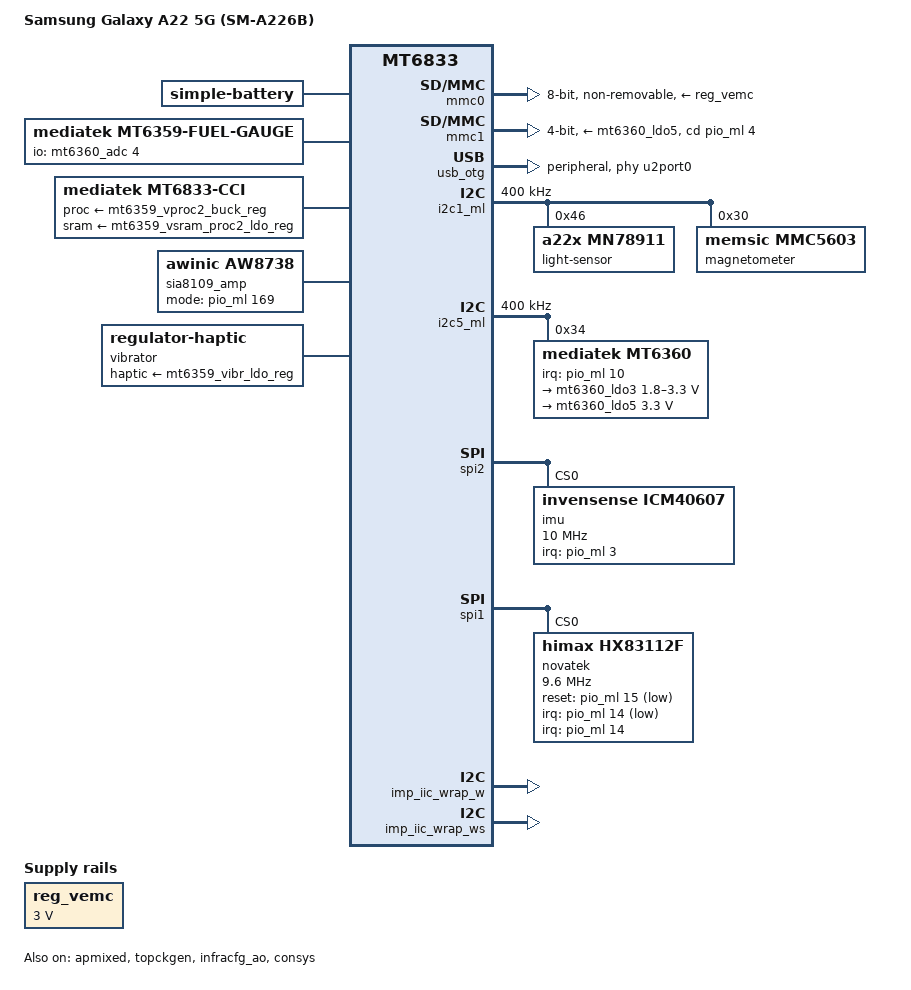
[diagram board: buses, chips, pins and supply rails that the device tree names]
// SPDX-License-Identifier: (GPL-2.0-only OR MIT)
/*
 * Samsung Galaxy A22 5G (SM-A226B, "a22x") - minimal mainline bring-up.
 *
 * The stock LK looks up a lot of nodes in the kernel DTB, applies dtbo.img on
 * top of it and panics when something is missing (bootargs, mediatek,scp, ...).
 * The base is therefore the stock DTB with everything mainline does not use
 * disabled (see mt6833-samsung-a22x-lk-compat.dtsi); real hardware support
 * is enabled here node by node.
 *
 * No reserved-memory nodes are added here: LK inserts its own mblock
 * reservations (framebuffer, pstore, ...) and hangs in
 * reserved_memory_conflict_check if the DTB already describes them
 * differently. ramoops is configured by LK through ramoops.* cmdline params.
 */

/dts-v1/;
#include <dt-bindings/clock/mt6833-clk.h>
#include <dt-bindings/power/mediatek,mt6833-power.h>
#include <dt-bindings/thermal/mediatek,lvts-thermal.h>
#include <dt-bindings/thermal/thermal.h>
#include <dt-bindings/leds/common.h>
#include <dt-bindings/phy/phy.h>
#include <dt-bindings/gpio/gpio.h>
#include <dt-bindings/input/input.h>
#include <dt-bindings/interrupt-controller/irq.h>
#include <dt-bindings/pinctrl/mt6833-pinfunc.h>
#include <dt-bindings/pinctrl/mt65xx.h>
#include "mt6833-samsung-a22x-lk-compat.dtsi"

/ {
	model = "Samsung Galaxy A22 5G (SM-A226B)";
	compatible = "samsung,a22x", "mediatek,mt6833";

	aliases {
		serial0 = &apuart0;
	};

	chosen {
		#address-cells = <2>;
		#size-cells = <2>;
		ranges;
		stdout-path = "serial0:921600n8";
		bootargs = "console=ttyS0,921600n8";

		framebuffer@7c9b0000 {
			compatible = "simple-framebuffer";
			reg = <0 0x7c9b0000 0 (1088 * 2408 * 4)>;
			width = <1080>;
			height = <2408>;
			stride = <(1088 * 4)>;
			format = "a8r8g8b8";
			backlight = <&backlight>;
			/*
			 * Physical size (stock panel driver: 68.43 x 152.57 mm), else
			 * simpledrm assumes 96 dpi and the OSK gets far too thin. Not a
			 * "panel" phandle: that variant hung at the boot logo (v73).
			 */
			width-mm = <68>;
			height-mm = <152>;
		};
	};

	pio_ml: pinctrl@10005000 {
		compatible = "mediatek,mt6833-pinctrl";
		reg = <0 0x10005000 0 0x1000>,
		      <0 0x11c30000 0 0x1000>,
		      <0 0x11d10000 0 0x1000>,
		      <0 0x11d40000 0 0x1000>,
		      <0 0x11e20000 0 0x1000>,
		      <0 0x11e60000 0 0x1000>,
		      <0 0x11ea0000 0 0x1000>,
		      <0 0x1000b000 0 0x1000>;
		reg-names = "gpio", "iocfg_rb", "iocfg_bm", "iocfg_br",
			    "iocfg_lm", "iocfg_bl", "iocfg_rt", "eint";
		gpio-controller;
		#gpio-cells = <2>;
		gpio-ranges = <&pio_ml 0 0 201>;
		interrupt-controller;
		#interrupt-cells = <2>;
		interrupts = <0 212 4>;

		/* Mux only; pulls and drive strength stay as the bootloader set them. */
		uart0_pins: uart0-pins {
			pins-rx-tx {
				pinmux = <PINMUX_GPIO61__FUNC_URXD0>,
					 <PINMUX_GPIO62__FUNC_UTXD0>;
			};
		};

		spi1_pins: spi1-pins {
			pins-bus {
				pinmux = <PINMUX_GPIO27__FUNC_SPI1_CLK>,
					 <PINMUX_GPIO28__FUNC_SPI1_CSB>,
					 <PINMUX_GPIO29__FUNC_SPI1_MO>,
					 <PINMUX_GPIO30__FUNC_SPI1_MI>;
			};
		};

		touch_pins: touch-pins {
			pins-irq {
				pinmux = <PINMUX_GPIO14__FUNC_GPIO14>;
				input-enable;
			};
			pins-reset {
				pinmux = <PINMUX_GPIO15__FUNC_GPIO15>;
				output-high;
			};
		};

		/* AFE <-> MT6359 (MTKAIF) and speaker I2S, vendor states */
		/* MTKAIF clock/sync: switched on once at AFE init, always running */
		aud_clk_mosi_off_ml: aud-clk-mosi-off {
			pins-off {
				pinmux = <PINMUX_GPIO152__FUNC_GPIO152>,
					 <PINMUX_GPIO153__FUNC_GPIO153>;
				input-enable;
				bias-pull-down;
			};
		};

		aud_clk_mosi_on_ml: aud-clk-mosi-on {
			pins-on {
				pinmux = <PINMUX_GPIO152__FUNC_AUD_CLK_MOSI>,
					 <PINMUX_GPIO153__FUNC_AUD_SYNC_MOSI>;
				input-schmitt-enable;
				bias-disable;
			};
		};

		aud_dat_mosi_off_ml: aud-dat-mosi-off {
			pins-off {
				pinmux = <PINMUX_GPIO154__FUNC_GPIO154>,
					 <PINMUX_GPIO155__FUNC_GPIO155>;
				input-enable;
				bias-pull-down;
			};
		};

		aud_dat_mosi_on_ml: aud-dat-mosi-on {
			pins-on {
				pinmux = <PINMUX_GPIO154__FUNC_AUD_DAT_MOSI0>,
					 <PINMUX_GPIO155__FUNC_AUD_DAT_MOSI1>;
				input-schmitt-enable;
				bias-disable;
			};
		};

		aud_dat_miso_off_ml: aud-dat-miso-off {
			pins-off {
				pinmux = <PINMUX_GPIO159__FUNC_GPIO159>,
					 <PINMUX_GPIO160__FUNC_GPIO160>;
				input-enable;
				bias-pull-down;
			};
		};

		aud_dat_miso_on_ml: aud-dat-miso-on {
			pins-on {
				pinmux = <PINMUX_GPIO159__FUNC_AUD_DAT_MISO0>,
					 <PINMUX_GPIO160__FUNC_AUD_DAT_MISO1>;
				input-schmitt-enable;
				bias-disable;
			};
		};

		aud_gpio_i2s3_off_ml: aud-gpio-i2s3-off {
			pins-off {
				pinmux = <PINMUX_GPIO40__FUNC_GPIO40>,
					 <PINMUX_GPIO41__FUNC_GPIO41>,
					 <PINMUX_GPIO43__FUNC_GPIO43>;
				input-enable;
				bias-pull-down;
			};
		};

		aud_gpio_i2s3_on_ml: aud-gpio-i2s3-on {
			pins-on {
				pinmux = <PINMUX_GPIO40__FUNC_I2S3_BCK>,
					 <PINMUX_GPIO41__FUNC_I2S3_LRCK>,
					 <PINMUX_GPIO43__FUNC_I2S3_DO>;
				input-schmitt-enable;
				bias-disable;
			};
		};

		aud_gpio_i2s0_off_ml: aud-gpio-i2s0-off {
			pins-off {
				pinmux = <PINMUX_GPIO42__FUNC_GPIO42>;
				input-enable;
				bias-pull-down;
			};
		};

		aud_gpio_i2s0_on_ml: aud-gpio-i2s0-on {
			pins-on {
				pinmux = <PINMUX_GPIO42__FUNC_I2S0_DI>;
				input-schmitt-enable;
				bias-disable;
			};
		};

		spk_amp_pins: spk-amp-pins {
			pins-owi {
				pinmux = <PINMUX_GPIO169__FUNC_GPIO169>;
				bias-disable;
			};
		};

		/* vendor routes these to the SCP (SCP_SCL0/SDA0); AP I2C1 on the same pins */
		i2c1_pins: i2c1-pins {
			pins-bus {
				pinmux = <PINMUX_GPIO99__FUNC_SCL1>,
					 <PINMUX_GPIO100__FUNC_SDA1>;
			};
		};

		i2c5_pins: i2c5-pins {
			pins-bus {
				pinmux = <PINMUX_GPIO107__FUNC_SCL5>,
					 <PINMUX_GPIO108__FUNC_SDA5>;
			};
		};

		keypad_pins: keypad-pins {
			pins-cols {
				pinmux = <PINMUX_GPIO79__FUNC_KPCOL0>,
					 <PINMUX_GPIO80__FUNC_KPCOL1>;
			};
		};

		/* SD card slot (MSDC1); vendor drive strength 8 mA */
		/* IMU on SPI2 (the vendor drives it from the SCP via SCP_SPI2) */
		imu_int_pins: imu-int-pins {
			pins-int {
				pinmux = <PINMUX_GPIO3__FUNC_GPIO3>;
				input-enable;
				bias-disable;
			};
		};

		spi2_pins: spi2-pins {
			pins-spi {
				pinmux = <PINMUX_GPIO31__FUNC_SPI2_CLK>,
					 <PINMUX_GPIO32__FUNC_SPI2_CSB>,
					 <PINMUX_GPIO33__FUNC_SPI2_MO>;
				bias-disable;
			};

			pins-miso {
				pinmux = <PINMUX_GPIO34__FUNC_SPI2_MI>;
				input-enable;
				bias-pull-up;
			};
		};

		mmc1_pins: mmc1-pins {
			pins-cmd-dat {
				pinmux = <PINMUX_GPIO126__FUNC_MSDC1_CMD>,
					 <PINMUX_GPIO128__FUNC_MSDC1_DAT0>,
					 <PINMUX_GPIO127__FUNC_MSDC1_DAT1>,
					 <PINMUX_GPIO129__FUNC_MSDC1_DAT2>,
					 <PINMUX_GPIO130__FUNC_MSDC1_DAT3>;
				input-enable;
				drive-strength = <8>;
				bias-pull-up = <MTK_PUPD_SET_R1R0_01>;
			};

			pins-clk {
				pinmux = <PINMUX_GPIO125__FUNC_MSDC1_CLK>;
				drive-strength = <8>;
				bias-pull-down = <MTK_PUPD_SET_R1R0_10>;
			};

			pins-cd {
				pinmux = <PINMUX_GPIO4__FUNC_GPIO4>;
				input-enable;
				bias-pull-up;
			};
		};

		mmc0_pins: mmc0-pins {
			pins-bus {
				pinmux = <PINMUX_GPIO65__FUNC_MSDC0_DSL>,
					 <PINMUX_GPIO66__FUNC_MSDC0_CLK>,
					 <PINMUX_GPIO67__FUNC_MSDC0_CMD>,
					 <PINMUX_GPIO68__FUNC_MSDC0_RSTB>,
					 <PINMUX_GPIO69__FUNC_MSDC0_DAT0>,
					 <PINMUX_GPIO70__FUNC_MSDC0_DAT1>,
					 <PINMUX_GPIO71__FUNC_MSDC0_DAT2>,
					 <PINMUX_GPIO72__FUNC_MSDC0_DAT3>,
					 <PINMUX_GPIO73__FUNC_MSDC0_DAT4>,
					 <PINMUX_GPIO74__FUNC_MSDC0_DAT5>,
					 <PINMUX_GPIO75__FUNC_MSDC0_DAT6>,
					 <PINMUX_GPIO76__FUNC_MSDC0_DAT7>;
			};
		};
	};

	/* VEMC, left enabled by the bootloader for the boot eMMC. */
	reg_vemc: regulator-vemc {
		compatible = "regulator-fixed";
		regulator-name = "vemc";
		regulator-min-microvolt = <3000000>;
		regulator-max-microvolt = <3000000>;
		regulator-always-on;
		regulator-boot-on;
	};

	mmc0: mmc@11230000 {
		compatible = "mediatek,mt8183-mmc";
		reg = <0 0x11230000 0 0x10000>,
		      <0 0x11f50000 0 0x1000>;
		interrupts = <0 99 4>;
		clocks = <&topckgen CLK_TOP_MSDC50_0_SEL>,
			 <&infracfg_ao CLK_IFRAO_MSDC0>,
			 <&infracfg_ao CLK_IFRAO_MSDC0_SRC>;
		clock-names = "source", "hclk", "source_cg";
		bus-width = <8>;
		max-frequency = <200000000>;
		cap-mmc-highspeed;
		mmc-hs200-1_8v;
		vmmc-supply = <&reg_vemc>;
		pinctrl-names = "default", "state_uhs";
		pinctrl-0 = <&mmc0_pins>;
		pinctrl-1 = <&mmc0_pins>;
		non-removable;
		no-sd;
		no-sdio;
	};

	/* microSD slot: VMC (I/O, MT6360 LDO3) and VMCH (card, MT6360 LDO5) */
	mmc1: mmc@11240000 {
		compatible = "mediatek,mt8183-mmc";
		reg = <0 0x11240000 0 0x1000>,
		      <0 0x11c70000 0 0x1000>;
		interrupts = <0 103 4>;
		clocks = <&topckgen CLK_TOP_MSDC30_1_SEL>,
			 <&infracfg_ao CLK_IFRAO_MSDC1>,
			 <&infracfg_ao CLK_IFRAO_MSDC1_SRC>;
		clock-names = "source", "hclk", "source_cg";
		pinctrl-names = "default", "state_uhs";
		pinctrl-0 = <&mmc1_pins>;
		pinctrl-1 = <&mmc1_pins>;
		bus-width = <4>;
		max-frequency = <200000000>;
		cap-sd-highspeed;
		sd-uhs-sdr12;
		sd-uhs-sdr25;
		sd-uhs-sdr50;
		sd-uhs-sdr104;
		cd-gpios = <&pio_ml 4 GPIO_ACTIVE_HIGH>;
		vmmc-supply = <&mt6360_ldo5>;
		vqmmc-supply = <&mt6360_ldo3>;
		no-sdio;
		no-mmc;
	};

	u2phy: t-phy@11e40000 {
		compatible = "mediatek,mt6833-tphy", "mediatek,generic-tphy-v2";
		#address-cells = <1>;
		#size-cells = <1>;
		ranges = <0 0 0x11e40000 0x1000>;

		u2port0: usb-phy@0 {
			reg = <0x0 0x700>;
			clocks = <&uart_clk>;
			clock-names = "ref";
			#phy-cells = <1>;
		};
	};

	usb_otg: usb@11200000 {
		compatible = "mediatek,mt6833-musb", "mediatek,mtk-musb";
		reg = <0 0x11200000 0 0x1000>;
		interrupts = <0 96 4>;
		interrupt-names = "mc";
		phys = <&u2port0 PHY_TYPE_USB2>;
		dr_mode = "peripheral";
		clocks = <&infracfg_ao CLK_IFRAO_SSUSB>,
			 <&topckgen CLK_TOP_USB_TOP_SEL>,
			 <&topckgen CLK_TOP_UNIVPLL_D5_D4>;
		clock-names = "main", "mcu", "univpll";
	};

	/*
	 * LK leaves the TOPRGU watchdog running; let the kernel service it.
	 * The stock "mediatek,toprgu" node at the same address stays disabled.
	 */
	watchdog@10007000 {
		compatible = "mediatek,mt6833-wdt", "mediatek,mt6589-wdt";
		reg = <0 0x10007000 0 0x100>;
		#reset-cells = <1>;
	};
};

&apuart0 {
	clocks = <&uart_clk>, <&infracfg_ao CLK_IFRAO_UART0>;
	clock-names = "baud", "bus";
	pinctrl-names = "default";
	pinctrl-0 = <&uart0_pins>;
};

/* The stock fixed clock lacks #clock-cells, so the UART driver cannot use it. */
&uart_clk {
	#clock-cells = <0>;
};

/*
 * Touch: Himax HX83112F TDDI on SPI1. LK's dtbo overlay enables &spi1 and
 * adds a "novatek@0" child (compatible list ending in "himax,common"); the
 * properties below are merged into that node.
 */
&spi2 {
	#address-cells = <1>;
	#size-cells = <0>;
	clocks = <&topckgen CLK_TOP_MAINPLL_D5_D4>,
		 <&topckgen CLK_TOP_SPI_SEL>,
		 <&infracfg_ao CLK_IFRAO_SPI2>;
	clock-names = "parent-clk", "sel-clk", "spi-clk";
	pinctrl-names = "default";
	pinctrl-0 = <&spi2_pins>;
	status = "okay";

	/* TDK ICM-40607 accelerometer/gyroscope (WHO_AM_I 0x38), INT1 on GPIO3 */
	imu@0 {
		compatible = "invensense,icm40607";
		reg = <0>;
		spi-max-frequency = <10000000>;
		spi-cpha;
		spi-cpol;
		interrupts-extended = <&pio_ml 3 IRQ_TYPE_EDGE_FALLING>;
		interrupt-names = "INT1";
		pinctrl-names = "default";
		pinctrl-0 = <&imu_int_pins>;
		/* chip X/Z point opposite the panel axes (checked with Plasma rotation) */
		mount-matrix = "-1", "0", "0",
			       "0", "1", "0",
			       "0", "0", "-1";
	};
};

&spi1 {
	#address-cells = <1>;
	#size-cells = <0>;
	clocks = <&topckgen CLK_TOP_MAINPLL_D5_D4>,
		 <&topckgen CLK_TOP_SPI_SEL>,
		 <&infracfg_ao CLK_IFRAO_SPI1>;
	clock-names = "parent-clk", "sel-clk", "spi-clk";
	pinctrl-names = "default";
	pinctrl-0 = <&spi1_pins>;
	status = "okay";

	novatek@0 {
		compatible = "himax,hx83112f", "himax,common";
		reg = <0>;
		spi-max-frequency = <9600000>;
		pinctrl-names = "default";
		pinctrl-0 = <&touch_pins>;
		interrupts-extended = <&pio_ml 14 IRQ_TYPE_EDGE_FALLING>;
		reset-gpios = <&pio_ml 15 GPIO_ACTIVE_LOW>;
		irq-gpios = <&pio_ml 14 GPIO_ACTIVE_LOW>;
		touchscreen-size-x = <1080>;
		touchscreen-size-y = <2408>;
	};
};

/* MT6833 clock controllers (providers only for now; consumers still use stand-ins). */
&apmixed {
	status = "okay";
};

&topckgen {
	status = "okay";
};

&infracfg_ao {
	status = "okay";
};

&imp_iic_wrap_w {
	status = "okay";
};

&imp_iic_wrap_ws {
	status = "okay";
};

/ {
	/*
	 * I2C5 with the MT6360 sub-PMIC (charger, ADC, LDOs, Type-C). A separate
	 * node from the stock "i2c5": LK's dtbo overlay rewrites the children of
	 * the stock one with downstream compatibles. The stock node stays off.
	 */
	/* sensor bus: light/proximity and magnetometer, owned by the SCP on stock */
	i2c1_ml: i2c@11d20000 {
		compatible = "mediatek,mt6833-i2c", "mediatek,mt8192-i2c";
		reg = <0 0x11d20000 0 0x1000>,
		      <0 0x10217100 0 0x80>;
		interrupts = <0 113 4>;
		clocks = <&imp_iic_wrap_ws CLK_IMPWS_AP_CLOCK_RO_I2C1>,
			 <&infracfg_ao CLK_IFRAO_AP_DMA>;
		clock-names = "main", "dma";
		clock-div = <1>;
		clock-frequency = <400000>;
		pinctrl-names = "default";
		pinctrl-0 = <&i2c1_pins>;
		#address-cells = <1>;
		#size-cells = <0>;

		light-sensor@46 {
			compatible = "a22x,mn78911";
			reg = <0x46>;
			/* palm over the sensor ~370, open ~60 */
			proximity-near-level = <200>;
		};

		magnetometer@30 {
			compatible = "memsic,mmc5603";
			reg = <0x30>;
		};
	};

	i2c5_ml: i2c@11e01000 {
		compatible = "mediatek,mt6833-i2c", "mediatek,mt8192-i2c";
		reg = <0 0x11e01000 0 0x1000>,
		      <0 0x10217500 0 0x80>;
		interrupts = <0 117 4>;
		clocks = <&imp_iic_wrap_w CLK_IMPW_AP_CLOCK_RO_I2C5>,
			 <&infracfg_ao CLK_IFRAO_AP_DMA>;
		clock-names = "main", "dma";
		clock-div = <1>;
		clock-frequency = <400000>;
		pinctrl-names = "default";
		pinctrl-0 = <&i2c5_pins>;
		#address-cells = <1>;
		#size-cells = <0>;

		mt6360: pmic@34 {
			compatible = "mediatek,mt6360";
			reg = <0x34>;
			interrupts-extended = <&pio_ml 10 IRQ_TYPE_EDGE_FALLING>;
			interrupt-names = "IRQB";
			interrupt-controller;
			#interrupt-cells = <1>;

			mt6360_adc: adc {
				compatible = "mediatek,mt6360-adc";
				#io-channel-cells = <1>;
			};

			/*
			 * Only the SD card supplies are described; the other
			 * MT6360 rails keep their bootloader state.
			 */
			/* rear flash: FLED1 (vendor: torch 37.5 mA, strobe 750 mA / 1.248 s) */
			led-controller {
				compatible = "mediatek,mt6360-led";
				#address-cells = <1>;
				#size-cells = <0>;

				led@4 {
					reg = <4>;
					function = LED_FUNCTION_FLASH;
					color = <LED_COLOR_ID_WHITE>;
					led-max-microamp = <100000>;
					flash-max-microamp = <750000>;
					flash-max-timeout-us = <1248000>;
				};
			};

			regulator {
				compatible = "mediatek,mt6360-regulator";

				mt6360_ldo3: ldo3 {
					regulator-name = "vmc";
					regulator-min-microvolt = <1800000>;
					regulator-max-microvolt = <3300000>;
				};

				mt6360_ldo5: ldo5 {
					regulator-name = "vmch";
					regulator-min-microvolt = <3300000>;
					regulator-max-microvolt = <3300000>;
				};
			};

			/* Leaves ICHG/AICR/CV as set by the bootloader (stock: 2 A / 0.5 A / 4.4 V). */
			mt6360_chg: charger {
				compatible = "mediatek,mt6360-chg";
				richtek,vinovp-microvolt = <6500000>;
			};
		};
	};
};

/ {
	/*
	 * Samsung EB-BA226ABY (5000 mAh). OCV curve resampled from the stock
	 * MTK GM3.0 profile (bat_gm30, battery0_profile_t1, 25 degC).
	 */
	battery: battery {
		compatible = "simple-battery";
		charge-full-design-microamp-hours = <5000000>;
		/* ~120 mOhm at 25 C, stock W1 SCUD/BYD 5000 mAh profiles */
		factory-internal-resistance-micro-ohms = <120000>;
		voltage-min-design-microvolt = <3400000>;
		voltage-max-design-microvolt = <4400000>;
		ocv-capacity-celsius = <25>;
		ocv-capacity-table-0 = <4357000 100>,
						<4280721 95>,
						<4221383 90>,
						<4165774 85>,
						<4110504 80>,
						<4070075 75>,
						<3996095 70>,
						<3963975 65>,
						<3931597 60>,
						<3880589 55>,
						<3842700 50>,
						<3819808 45>,
						<3802441 40>,
						<3787965 35>,
						<3776921 30>,
						<3762025 25>,
						<3743598 20>,
						<3716495 15>,
						<3691341 10>,
						<3650438 5>,
						<3400000 0>;
	};

	/* coulomb counter of the MT6359 PMIC; VBAT from the MT6360 ADC */
	fuel-gauge {
		compatible = "mediatek,mt6359-fuel-gauge";
		mediatek,pmic = <&mt6359>;
		/* R_FG_VALUE 5 mOhm, CAR_TUNE 100 % (stock mt6833_battery_prop.dtsi) */
		mediatek,sense-resistor-micro-ohms = <5000>;
		io-channels = <&mt6360_adc 4>;
		io-channel-names = "voltage";
		monitored-battery = <&battery>;
		power-supplies = <&mt6360_chg>;
	};
};

/ {
	/*
	 * PMIC wrapper + MT6359 main PMIC. Separate node name from the stock
	 * "pwrap@10026000" (kept disabled) so the two do not get merged.
	 * The pwrap is already initialised by the bootloader.
	 */
	pmic-wrapper@10026000 {
		compatible = "mediatek,mt6833-pwrap";
		reg = <0 0x10026000 0 0x1000>;
		reg-names = "pwrap";
		interrupts = <0 220 4>;
		clocks = <&infracfg_ao CLK_IFRAO_PMIC_AP>,
			 <&infracfg_ao CLK_IFRAO_PMIC_TMR>;
		clock-names = "spi", "wrap";

		mt6359: pmic {
			compatible = "mediatek,mt6359";
			interrupts-extended = <&pio_ml 118 IRQ_TYPE_LEVEL_HIGH>;
			interrupt-controller;
			#interrupt-cells = <2>;

			rtc {
				compatible = "mediatek,mt6358-rtc";
			};

			/* headset jack detection; values from the vendor accdet node */
			mt6359_accdet: accdet {
				compatible = "mediatek,mt6359-accdet";
				mediatek,mic-vol = <8>;
				mediatek,plugout-debounce = <1>;
				mediatek,mic-mode = <2>;
				mediatek,pwm-deb-setting = <0x500 0x500 0x1 0x1f0
							    0x800 0x800 0x20 0x44
							    0x4 0x1 0x5 0x3 0x3 0x5 0xe>;
				mediatek,eint-use-ext-res = <0>;
				mediatek,key-mode = <0>;
				mediatek,three-key-thr = <0 80 220 400>;
			};

			mt6359codec {
				mediatek,dmic-mode = <0>;	/* two-wire */
				/*
				 * DCC: the stock DT has no mic-type, so the vendor
				 * driver uses its default DCC; with ACC the ADC
				 * delivers only zeros.
				 */
				mediatek,mic-type-0 = <3>;
				mediatek,mic-type-1 = <3>;
				mediatek,mic-type-2 = <3>;
			};

			/*
			 * Only the GPU rails are described; every other MT6359
			 * regulator stays as the bootloader configured it.
			 * vgpu follows the GPU OPP table (fixed 0.78125 V for now,
			 * see gpu_opp_table); vsram_gpu stays at 0.85 V.
			 */
			regulators {
				mt6359_vproc1_buck_reg: buck_vproc1 {
					regulator-name = "vgpu";
					regulator-min-microvolt = <625000>;
					regulator-max-microvolt = <781250>;
					/* MT6359 driver has no slew info; vendor waits ~5 mV/us */
					regulator-ramp-delay = <5000>;
					regulator-enable-ramp-delay = <200>;
				};

				/*
				 * CPU rails (vendor kernel: big = vgpu11 +
				 * vsram_proc1, LITTLE + CCI = vproc2 +
				 * vsram_proc2). Never switched off; the
				 * ranges cover the bootloader setting so
				 * nothing changes until cpufreq asks.
				 */
				mt6359_vgpu11_buck_reg: buck_vgpu11 {
					regulator-name = "vproc_big";
					regulator-min-microvolt = <600000>;
					regulator-max-microvolt = <1000000>;
					regulator-ramp-delay = <5000>;
					regulator-always-on;
				};

				mt6359_vproc2_buck_reg: buck_vproc2 {
					regulator-name = "vproc_little";
					regulator-min-microvolt = <600000>;
					regulator-max-microvolt = <1000000>;
					regulator-ramp-delay = <5000>;
					regulator-always-on;
				};

				mt6359_vsram_proc1_ldo_reg: ldo_vsram_proc1 {
					regulator-name = "vsram_big";
					regulator-min-microvolt = <750000>;
					regulator-max-microvolt = <1000000>;
					regulator-ramp-delay = <5000>;
					regulator-always-on;
				};

				mt6359_vsram_proc2_ldo_reg: ldo_vsram_proc2 {
					regulator-name = "vsram_little";
					regulator-min-microvolt = <750000>;
					regulator-max-microvolt = <1000000>;
					regulator-ramp-delay = <5000>;
					regulator-always-on;
				};

				/* vibration motor (vendor 3.0 V; 3.3 V for a stronger buzz) */
				mt6359_vibr_ldo_reg: ldo_vibr {
					regulator-name = "vibr";
					regulator-min-microvolt = <3300000>;
					regulator-max-microvolt = <3300000>;
				};

				/* connectivity (CONSYS + MT6631), ranges from the vendor DT */
				mt6359_vcn18_ldo_reg: ldo_vcn18 {
					regulator-name = "vcn18";
					regulator-min-microvolt = <1800000>;
					regulator-max-microvolt = <1800000>;
				};

				mt6359_vcn13_ldo_reg: ldo_vcn13 {
					regulator-name = "vcn13";
					regulator-min-microvolt = <900000>;
					regulator-max-microvolt = <1300000>;
				};

				mt6359_vcn33_1_ldo_reg: ldo_vcn33_1 {
					regulator-name = "vcn33_1";
					regulator-min-microvolt = <2800000>;
					regulator-max-microvolt = <3500000>;
				};

				mt6359_vcn33_2_ldo_reg: ldo_vcn33_2 {
					regulator-name = "vcn33_2";
					regulator-min-microvolt = <2800000>;
					regulator-max-microvolt = <3500000>;
				};

				mt6359_vsram_md_ldo_reg: ldo_vsram_md {
					regulator-name = "vsram_gpu";
					regulator-min-microvolt = <850000>;
					regulator-max-microvolt = <850000>;
					regulator-enable-ramp-delay = <240>;
				};
			};

			keys {
				compatible = "mediatek,mt6359-keys";

				power-key {
					linux,keycodes = <KEY_POWER>;
					wakeup-source;
				};

				/* Wired to the volume-down button on SM-A226B. */
				home-key {
					linux,keycodes = <KEY_VOLUMEDOWN>;
				};
			};
		};
	};
};

/ {
	/* Panel brightness via DCS 0x51 on the LK-initialised DSI0 (video mode). */
	backlight: backlight@14013000 {
		compatible = "mediatek,dsi-vm-backlight";
		reg = <0 0x14013000 0 0x1000>;
		/* BCTRL | DD | BL, as the vendor panel driver sets it */
		mediatek,wrctrld = <0x2c>;
		default-brightness-level = <200>;
	};
};

/ {
	/* SoC keypad: only volume-up (stock hw map index 1 = row 0, col 1). */
	keypad@10010000 {
		compatible = "mediatek,mt6833-keypad", "mediatek,mt6779-keypad";
		reg = <0 0x10010000 0 0x1000>;
		interrupts = <0 74 IRQ_TYPE_EDGE_RISING>;
		clocks = <&uart_clk>;
		clock-names = "kpd";
		pinctrl-names = "default";
		pinctrl-0 = <&keypad_pins>;
		linux,keymap = <MATRIX_KEY(0x00, 0x01, KEY_VOLUMEUP)>;
		keypad,num-rows = <1>;
		keypad,num-columns = <2>;
		debounce-delay-ms = <32>;
		wakeup-source;
	};
};

/ {
	/* "infra_pdn" in the vendor kernel: holds the MFG1 AXI way-enable */
	infra_pdn: syscon@10215000 {
		compatible = "mediatek,mt6833-infra-pdn", "syscon";
		reg = <0 0x10215000 0 0x1000>;
	};

	scpsys_ml: syscon@10006000 {
		compatible = "mediatek,mt6833-scpsys", "syscon", "simple-mfd";
		reg = <0 0x10006000 0 0x1000>;

		/* GPU (MFG) and audio domains; the others are left to the bootloader. */
		spm: power-controller {
			compatible = "mediatek,mt6833-power-controller";
			#address-cells = <1>;
			#size-cells = <0>;
			#power-domain-cells = <1>;

			power-domain@MT6833_POWER_DOMAIN_CONN {
				reg = <MT6833_POWER_DOMAIN_CONN>;
				mediatek,infracfg = <&infracfg_ao>;
				#power-domain-cells = <0>;
			};

			power-domain@MT6833_POWER_DOMAIN_AUDIO {
				reg = <MT6833_POWER_DOMAIN_AUDIO>;
				clocks = <&topckgen CLK_TOP_AUD_INTBUS_SEL>,
					 <&infracfg_ao CLK_IFRAO_AUDIO_26M_BCLK>,
					 <&infracfg_ao CLK_IFRAO_AUDIO>;
				clock-names = "audio", "audio1", "audio2";
				mediatek,infracfg = <&infracfg_ao>;
				#power-domain-cells = <0>;
			};

			mfg0: power-domain@MT6833_POWER_DOMAIN_MFG0 {
				reg = <MT6833_POWER_DOMAIN_MFG0>;
				domain-supply = <&mt6359_vproc1_buck_reg>;
				#address-cells = <1>;
				#size-cells = <0>;
				#power-domain-cells = <1>;

				mfg1: power-domain@MT6833_POWER_DOMAIN_MFG1 {
					reg = <MT6833_POWER_DOMAIN_MFG1>;
					clocks = <&topckgen CLK_TOP_MFG_PLL_SEL>,
						 <&topckgen CLK_TOP_MFG_REF_SEL>;
					clock-names = "mfg", "alt";
					domain-supply = <&mt6359_vsram_md_ldo_reg>;
					mediatek,infracfg = <&infracfg_ao>;
					mediatek,infracfg-nao = <&infra_pdn>;
					#address-cells = <1>;
					#size-cells = <0>;
					#power-domain-cells = <1>;

					power-domain@MT6833_POWER_DOMAIN_MFG2 {
						reg = <MT6833_POWER_DOMAIN_MFG2>;
						#power-domain-cells = <0>;
					};

					power-domain@MT6833_POWER_DOMAIN_MFG3 {
						reg = <MT6833_POWER_DOMAIN_MFG3>;
						#power-domain-cells = <0>;
					};
				};
			};
		};
	};

	mfgcfg_ml: clock-controller@13fbf000 {
		compatible = "mediatek,mt6833-mfgcfg";
		reg = <0 0x13fbf000 0 0x1000>;
		/* registers only respond with the GPU top domain powered */
		power-domains = <&spm MT6833_POWER_DOMAIN_MFG1>;
		#clock-cells = <1>;
	};

	/* Mali-G57 MC2, same GPU configuration as MT8370 */
	gpu: gpu@13000000 {
		compatible = "mediatek,mt6833-mali", "mediatek,mt8370-mali",
			     "arm,mali-valhall-jm";
		reg = <0 0x13000000 0 0x4000>;
		interrupts = <0 366 4>, <0 365 4>, <0 364 4>;
		interrupt-names = "job", "mmu", "gpu";
		clocks = <&mfgcfg_ml CLK_MFGCFG_BG3D>;
		power-domains = <&spm MT6833_POWER_DOMAIN_MFG2>,
				<&spm MT6833_POWER_DOMAIN_MFG3>;
		power-domain-names = "core0", "core1";
		mali-supply = <&mt6359_vproc1_buck_reg>;
		operating-points-v2 = <&gpu_opp_table>;
		#cooling-cells = <2>;
	};

	/*
	 * Frequencies from the Samsung/MediaTek MT6833 GPU table. The vendor
	 * voltages (0.625 V and up) rely on EEMG calibration, which is not done
	 * here: with them the GPU randomly hung or read garbage (job timeouts,
	 * SLAVE/translation faults, about every second boot). A fixed 0.78125 V
	 * (the 955 MHz voltage) with VSRAM 0.85 V was clean on every test boot.
	 * The vendor table lists 1000/1068 MHz, but MFGPLL_CON1 ignores any
	 * PCW above the 955 MHz setting on this chip (Dimensity 700 is rated
	 * for 950 MHz), so the table stops there.
	 */
	gpu_opp_table: opp-table-gpu {
		compatible = "operating-points-v2";
		opp-shared;

		opp-390000000 {
			opp-hz = /bits/ 64 <390000000>;
			opp-microvolt = <781250>;
		};
		opp-467000000 {
			opp-hz = /bits/ 64 <467000000>;
			opp-microvolt = <781250>;
		};
		opp-545000000 {
			opp-hz = /bits/ 64 <545000000>;
			opp-microvolt = <781250>;
		};
		opp-622000000 {
			opp-hz = /bits/ 64 <622000000>;
			opp-microvolt = <781250>;
		};
		opp-700000000 {
			opp-hz = /bits/ 64 <700000000>;
			opp-microvolt = <781250>;
		};
		opp-790000000 {
			opp-hz = /bits/ 64 <790000000>;
			opp-microvolt = <781250>;
		};
		opp-880000000 {
			opp-hz = /bits/ 64 <880000000>;
			opp-microvolt = <781250>;
		};
		opp-955000000 {
			opp-hz = /bits/ 64 <955000000>;
			opp-microvolt = <781250>;
		};
	};
};

/*
 * CPU DVFS: Linux retunes the cluster PLLs itself (mediatek-cpufreq) instead
 * of the vendor CPUHVFS/MCUPM path. Tables are the vendor B20G level that
 * this device is built for (MTK_5GCM_PROJECT), with the unadjusted (pre-EEM)
 * voltages. The CCI shares Vproc2 with LITTLE and is scaled by
 * mtk-cci-devfreq from the CPU OPPs' required-opps.
 */
/ {
	mcusys: syscon@c53a000 {
		compatible = "mediatek,mt6833-mcusys", "syscon";
		reg = <0 0x0c53a000 0 0x1000>;
		#clock-cells = <1>;
	};

	/* CCI follows the busier cluster (vendor B20G "normal" CCI map) */
	cci: cci {
		compatible = "mediatek,mt6833-cci";
		clocks = <&mcusys CLK_MCU_ARMPLL_BUS_SEL>, <&clk26m>;
		clock-names = "cci", "intermediate";
		operating-points-v2 = <&cci_opp>;
		proc-supply = <&mt6359_vproc2_buck_reg>;
		sram-supply = <&mt6359_vsram_proc2_ldo_reg>;
	};

	cci_opp: opp-table-cci {
		compatible = "operating-points-v2";
		opp-shared;

		cci_opp_450: opp-450000000 {
			opp-hz = /bits/ 64 <450000000>;
			opp-microvolt = <650000>;
		};

		cci_opp_506: opp-506000000 {
			opp-hz = /bits/ 64 <506000000>;
			opp-microvolt = <668750>;
		};

		cci_opp_562: opp-562000000 {
			opp-hz = /bits/ 64 <562000000>;
			opp-microvolt = <687500>;
		};

		cci_opp_618: opp-618000000 {
			opp-hz = /bits/ 64 <618000000>;
			opp-microvolt = <706250>;
		};

		cci_opp_675: opp-675000000 {
			opp-hz = /bits/ 64 <675000000>;
			opp-microvolt = <725000>;
		};

		cci_opp_750: opp-750000000 {
			opp-hz = /bits/ 64 <750000000>;
			opp-microvolt = <750000>;
		};

		cci_opp_825: opp-825000000 {
			opp-hz = /bits/ 64 <825000000>;
			opp-microvolt = <775000>;
		};

		cci_opp_900: opp-900000000 {
			opp-hz = /bits/ 64 <900000000>;
			opp-microvolt = <800000>;
		};

		cci_opp_975: opp-975000000 {
			opp-hz = /bits/ 64 <975000000>;
			opp-microvolt = <825000>;
		};
	};

	cluster0_opp: opp-table-cluster0 {
		compatible = "operating-points-v2";
		opp-shared;

		opp-500000000 {
			opp-hz = /bits/ 64 <500000000>;
			opp-microvolt = <650000>;
			required-opps = <&cci_opp_450>;
		};

		opp-620000000 {
			opp-hz = /bits/ 64 <620000000>;
			opp-microvolt = <650000>;
			required-opps = <&cci_opp_450>;
		};

		opp-675000000 {
			opp-hz = /bits/ 64 <675000000>;
			opp-microvolt = <662500>;
			required-opps = <&cci_opp_450>;
		};

		opp-730000000 {
			opp-hz = /bits/ 64 <730000000>;
			opp-microvolt = <675000>;
			required-opps = <&cci_opp_450>;
		};

		opp-840000000 {
			opp-hz = /bits/ 64 <840000000>;
			opp-microvolt = <700000>;
			required-opps = <&cci_opp_450>;
		};

		opp-950000000 {
			opp-hz = /bits/ 64 <950000000>;
			opp-microvolt = <725000>;
			required-opps = <&cci_opp_450>;
		};

		opp-1032000000 {
			opp-hz = /bits/ 64 <1032000000>;
			opp-microvolt = <743750>;
			required-opps = <&cci_opp_506>;
		};

		opp-1115000000 {
			opp-hz = /bits/ 64 <1115000000>;
			opp-microvolt = <762500>;
			required-opps = <&cci_opp_562>;
		};

		opp-1280000000 {
			opp-hz = /bits/ 64 <1280000000>;
			opp-microvolt = <800000>;
			required-opps = <&cci_opp_618>;
		};

		opp-1390000000 {
			opp-hz = /bits/ 64 <1390000000>;
			opp-microvolt = <825000>;
			required-opps = <&cci_opp_675>;
		};

		opp-1500000000 {
			opp-hz = /bits/ 64 <1500000000>;
			opp-microvolt = <850000>;
			required-opps = <&cci_opp_750>;
		};

		opp-1645000000 {
			opp-hz = /bits/ 64 <1645000000>;
			opp-microvolt = <893750>;
			required-opps = <&cci_opp_825>;
		};

		opp-1750000000 {
			opp-hz = /bits/ 64 <1750000000>;
			opp-microvolt = <925000>;
			required-opps = <&cci_opp_900>;
		};

		opp-1812000000 {
			opp-hz = /bits/ 64 <1812000000>;
			opp-microvolt = <943750>;
			required-opps = <&cci_opp_900>;
		};

		opp-1916000000 {
			opp-hz = /bits/ 64 <1916000000>;
			opp-microvolt = <975000>;
			required-opps = <&cci_opp_975>;
		};

		opp-2000000000 {
			opp-hz = /bits/ 64 <2000000000>;
			opp-microvolt = <1000000>;
			required-opps = <&cci_opp_975>;
		};
	};

	cluster1_opp: opp-table-cluster1 {
		compatible = "operating-points-v2";
		opp-shared;

		opp-725000000 {
			opp-hz = /bits/ 64 <725000000>;
			opp-microvolt = <650000>;
			required-opps = <&cci_opp_450>;
		};

		opp-840000000 {
			opp-hz = /bits/ 64 <840000000>;
			opp-microvolt = <681250>;
			required-opps = <&cci_opp_450>;
		};

		opp-898000000 {
			opp-hz = /bits/ 64 <898000000>;
			opp-microvolt = <700000>;
			required-opps = <&cci_opp_450>;
		};

		opp-985000000 {
			opp-hz = /bits/ 64 <985000000>;
			opp-microvolt = <725000>;
			required-opps = <&cci_opp_506>;
		};

		opp-1042000000 {
			opp-hz = /bits/ 64 <1042000000>;
			opp-microvolt = <737500>;
			required-opps = <&cci_opp_506>;
		};

		opp-1129000000 {
			opp-hz = /bits/ 64 <1129000000>;
			opp-microvolt = <756250>;
			required-opps = <&cci_opp_562>;
		};

		opp-1274000000 {
			opp-hz = /bits/ 64 <1274000000>;
			opp-microvolt = <800000>;
			required-opps = <&cci_opp_618>;
		};

		opp-1418000000 {
			opp-hz = /bits/ 64 <1418000000>;
			opp-microvolt = <843750>;
			required-opps = <&cci_opp_675>;
		};

		opp-1534000000 {
			opp-hz = /bits/ 64 <1534000000>;
			opp-microvolt = <875000>;
			required-opps = <&cci_opp_750>;
		};

		opp-1650000000 {
			opp-hz = /bits/ 64 <1650000000>;
			opp-microvolt = <906250>;
			required-opps = <&cci_opp_825>;
		};

		opp-1720000000 {
			opp-hz = /bits/ 64 <1720000000>;
			opp-microvolt = <925000>;
			required-opps = <&cci_opp_825>;
		};

		opp-1790000000 {
			opp-hz = /bits/ 64 <1790000000>;
			opp-microvolt = <943750>;
			required-opps = <&cci_opp_900>;
		};

		opp-1836000000 {
			opp-hz = /bits/ 64 <1836000000>;
			opp-microvolt = <950000>;
			required-opps = <&cci_opp_900>;
		};

		opp-1906000000 {
			opp-hz = /bits/ 64 <1906000000>;
			opp-microvolt = <968750>;
			required-opps = <&cci_opp_975>;
		};

		opp-1953000000 {
			opp-hz = /bits/ 64 <1953000000>;
			opp-microvolt = <981250>;
			required-opps = <&cci_opp_975>;
		};

		opp-2000000000 {
			opp-hz = /bits/ 64 <2000000000>;
			opp-microvolt = <993750>;
			required-opps = <&cci_opp_975>;
		};
	};
};

&cpu0 {
	clocks = <&mcusys CLK_MCU_ARMPLL_LL_SEL>, <&clk26m>;
	clock-names = "cpu", "intermediate";
	operating-points-v2 = <&cluster0_opp>;
	#cooling-cells = <2>;
	mediatek,cci = <&cci>;
	proc-supply = <&mt6359_vproc2_buck_reg>;
	sram-supply = <&mt6359_vsram_proc2_ldo_reg>;
};

&cpu1 {
	clocks = <&mcusys CLK_MCU_ARMPLL_LL_SEL>, <&clk26m>;
	clock-names = "cpu", "intermediate";
	operating-points-v2 = <&cluster0_opp>;
	#cooling-cells = <2>;
	mediatek,cci = <&cci>;
	proc-supply = <&mt6359_vproc2_buck_reg>;
	sram-supply = <&mt6359_vsram_proc2_ldo_reg>;
};

&cpu2 {
	clocks = <&mcusys CLK_MCU_ARMPLL_LL_SEL>, <&clk26m>;
	clock-names = "cpu", "intermediate";
	operating-points-v2 = <&cluster0_opp>;
	#cooling-cells = <2>;
	mediatek,cci = <&cci>;
	proc-supply = <&mt6359_vproc2_buck_reg>;
	sram-supply = <&mt6359_vsram_proc2_ldo_reg>;
};

&cpu3 {
	clocks = <&mcusys CLK_MCU_ARMPLL_LL_SEL>, <&clk26m>;
	clock-names = "cpu", "intermediate";
	operating-points-v2 = <&cluster0_opp>;
	#cooling-cells = <2>;
	mediatek,cci = <&cci>;
	proc-supply = <&mt6359_vproc2_buck_reg>;
	sram-supply = <&mt6359_vsram_proc2_ldo_reg>;
};

&cpu4 {
	clocks = <&mcusys CLK_MCU_ARMPLL_LL_SEL>, <&clk26m>;
	clock-names = "cpu", "intermediate";
	operating-points-v2 = <&cluster0_opp>;
	#cooling-cells = <2>;
	mediatek,cci = <&cci>;
	proc-supply = <&mt6359_vproc2_buck_reg>;
	sram-supply = <&mt6359_vsram_proc2_ldo_reg>;
};

&cpu5 {
	clocks = <&mcusys CLK_MCU_ARMPLL_LL_SEL>, <&clk26m>;
	clock-names = "cpu", "intermediate";
	operating-points-v2 = <&cluster0_opp>;
	#cooling-cells = <2>;
	mediatek,cci = <&cci>;
	proc-supply = <&mt6359_vproc2_buck_reg>;
	sram-supply = <&mt6359_vsram_proc2_ldo_reg>;
};

&cpu6 {
	clocks = <&mcusys CLK_MCU_ARMPLL_BL_SEL>, <&clk26m>;
	clock-names = "cpu", "intermediate";
	operating-points-v2 = <&cluster1_opp>;
	#cooling-cells = <2>;
	mediatek,cci = <&cci>;
	proc-supply = <&mt6359_vgpu11_buck_reg>;
	sram-supply = <&mt6359_vsram_proc1_ldo_reg>;
};

&cpu7 {
	clocks = <&mcusys CLK_MCU_ARMPLL_BL_SEL>, <&clk26m>;
	clock-names = "cpu", "intermediate";
	operating-points-v2 = <&cluster1_opp>;
	#cooling-cells = <2>;
	mediatek,cci = <&cci>;
	proc-supply = <&mt6359_vgpu11_buck_reg>;
	sram-supply = <&mt6359_vsram_proc1_ldo_reg>;
};

/*
 * Thermal: LVTS sensors (vendor plan: LITTLE 1-0..1-3, big 2-0/2-1,
 * GPU 3-0/3-1, SoC 3-2, CONSYS 3-3, modem 4-x) with the vendor CPU trip
 * points: throttle from 85 C, harder from 95 C, shut down at 117 C.
 */
/ {
	efuse_ml: efuse@11c10000 {
		compatible = "mediatek,mt6833-efuse", "mediatek,efuse";
		reg = <0 0x11c10000 0 0x1000>;
		#address-cells = <1>;
		#size-cells = <1>;

		lvts_e_data1: data1@1c0 {
			reg = <0x1c0 0x58>;
		};
	};

	lvts: thermal-sensor@1100b000 {
		compatible = "mediatek,mt6833-lvts-ap";
		reg = <0 0x1100b000 0 0xc00>;
		interrupts = <0 169 4>;
		clocks = <&infracfg_ao CLK_IFRAO_THERM>;
		nvmem-cells = <&lvts_e_data1>;
		nvmem-cell-names = "lvts-calib-data-1";
		#thermal-sensor-cells = <1>;
	};

	thermal-zones {
		cpu-little-thermal {
			polling-delay-passive = <100>;
			polling-delay = <1000>;
			thermal-sensors = <&lvts MT6833_AP_LITTLE1>;

			trips {
				little_alert: trip-alert {
					temperature = <85000>;
					hysteresis = <2000>;
					type = "passive";
				};

				little_hot: trip-hot {
					temperature = <95000>;
					hysteresis = <2000>;
					type = "passive";
				};

				little_crit: trip-crit {
					temperature = <117000>;
					hysteresis = <0>;
					type = "critical";
				};
			};
			cooling-maps {
				map0 {
					trip = <&little_alert>;
					cooling-device = <&cpu0 THERMAL_NO_LIMIT THERMAL_NO_LIMIT>,
							 <&cpu1 THERMAL_NO_LIMIT THERMAL_NO_LIMIT>,
							 <&cpu2 THERMAL_NO_LIMIT THERMAL_NO_LIMIT>,
							 <&cpu3 THERMAL_NO_LIMIT THERMAL_NO_LIMIT>,
							 <&cpu4 THERMAL_NO_LIMIT THERMAL_NO_LIMIT>,
							 <&cpu5 THERMAL_NO_LIMIT THERMAL_NO_LIMIT>;
				};

				map1 {
					trip = <&little_hot>;
					cooling-device = <&cpu0 THERMAL_NO_LIMIT THERMAL_NO_LIMIT>,
							 <&cpu1 THERMAL_NO_LIMIT THERMAL_NO_LIMIT>,
							 <&cpu2 THERMAL_NO_LIMIT THERMAL_NO_LIMIT>,
							 <&cpu3 THERMAL_NO_LIMIT THERMAL_NO_LIMIT>,
							 <&cpu4 THERMAL_NO_LIMIT THERMAL_NO_LIMIT>,
							 <&cpu5 THERMAL_NO_LIMIT THERMAL_NO_LIMIT>;
				};
			};
		};

		cpu-big-thermal {
			polling-delay-passive = <100>;
			polling-delay = <1000>;
			thermal-sensors = <&lvts MT6833_AP_BIG1>;

			trips {
				big_alert: trip-alert {
					temperature = <85000>;
					hysteresis = <2000>;
					type = "passive";
				};

				big_hot: trip-hot {
					temperature = <95000>;
					hysteresis = <2000>;
					type = "passive";
				};

				big_crit: trip-crit {
					temperature = <117000>;
					hysteresis = <0>;
					type = "critical";
				};
			};
			cooling-maps {
				map0 {
					trip = <&big_alert>;
					cooling-device = <&cpu6 THERMAL_NO_LIMIT THERMAL_NO_LIMIT>,
							 <&cpu7 THERMAL_NO_LIMIT THERMAL_NO_LIMIT>;
				};

				map1 {
					trip = <&big_hot>;
					cooling-device = <&cpu6 THERMAL_NO_LIMIT THERMAL_NO_LIMIT>,
							 <&cpu7 THERMAL_NO_LIMIT THERMAL_NO_LIMIT>;
				};
			};
		};

		gpu-thermal {
			polling-delay-passive = <100>;
			polling-delay = <1000>;
			thermal-sensors = <&lvts MT6833_AP_GPU1>;

			trips {
				gpu_alert: trip-alert {
					temperature = <85000>;
					hysteresis = <2000>;
					type = "passive";
				};

				gpu_hot: trip-hot {
					temperature = <95000>;
					hysteresis = <2000>;
					type = "passive";
				};

				gpu_crit: trip-crit {
					temperature = <117000>;
					hysteresis = <0>;
					type = "critical";
				};
			};
			cooling-maps {
				map0 {
					trip = <&gpu_alert>;
					cooling-device = <&gpu THERMAL_NO_LIMIT THERMAL_NO_LIMIT>;
				};

				map1 {
					trip = <&gpu_hot>;
					cooling-device = <&gpu THERMAL_NO_LIMIT THERMAL_NO_LIMIT>;
				};
			};
		};

		soc-thermal {
			polling-delay-passive = <100>;
			polling-delay = <1000>;
			thermal-sensors = <&lvts MT6833_AP_SOC>;

			trips {
				soc_alert: trip-alert {
					temperature = <85000>;
					hysteresis = <2000>;
					type = "passive";
				};

				soc_hot: trip-hot {
					temperature = <95000>;
					hysteresis = <2000>;
					type = "passive";
				};

				soc_crit: trip-crit {
					temperature = <117000>;
					hysteresis = <0>;
					type = "critical";
				};
			};
		};
	};
};

/* Audio: MT8192-compatible AFE + MT6359 codec (speaker amplifier pending) */
/ {
	audsys_ml: syscon@11210000 {
		compatible = "mediatek,mt6833-audsys", "syscon";
		reg = <0 0x11210000 0 0x2000>;
		#clock-cells = <1>;

		afe_ml: audio-controller {
			compatible = "mediatek,mt6833-audio";
			interrupts = <0 202 4>;
			mediatek,apmixedsys = <&apmixed>;
			mediatek,infracfg = <&infracfg_ao>;
			mediatek,topckgen = <&topckgen>;
			power-domains = <&spm MT6833_POWER_DOMAIN_AUDIO>;
			clocks = <&audsys_ml CLK_AUDSYS_AFE>,
				 <&audsys_ml CLK_AUDSYS_DAC>,
				 <&audsys_ml CLK_AUDSYS_DAC_PREDIS>,
				 <&audsys_ml CLK_AUDSYS_ADC>,
				 <&audsys_ml CLK_AUDSYS_ADDA6_ADC>,
				 <&audsys_ml CLK_AUDSYS_22M>,
				 <&audsys_ml CLK_AUDSYS_24M>,
				 <&audsys_ml CLK_AUDSYS_APLL_TUNER>,
				 <&audsys_ml CLK_AUDSYS_APLL2_TUNER>,
				 <&audsys_ml CLK_AUDSYS_TDM>,
				 <&audsys_ml CLK_AUDSYS_TML>,
				 <&audsys_ml CLK_AUDSYS_NLE>,
				 <&audsys_ml CLK_AUDSYS_DAC_HIRES>,
				 <&audsys_ml CLK_AUDSYS_ADC_HIRES>,
				 <&audsys_ml CLK_AUDSYS_ADC_HIRES_TML>,
				 <&audsys_ml CLK_AUDSYS_ADDA6_ADC_HIRES>,
				 <&audsys_ml CLK_AUDSYS_3RD_DAC>,
				 <&audsys_ml CLK_AUDSYS_3RD_DAC_PREDIS>,
				 <&audsys_ml CLK_AUDSYS_3RD_DAC_TML>,
				 <&audsys_ml CLK_AUDSYS_3RD_DAC_HIRES>,
				 <&infracfg_ao CLK_IFRAO_AUDIO>,
				 <&infracfg_ao CLK_IFRAO_AUDIO_26M_BCLK>,
				 <&topckgen CLK_TOP_AUDIO_SEL>,
				 <&topckgen CLK_TOP_AUD_INTBUS_SEL>,
				 <&topckgen CLK_TOP_MAINPLL_D4_D4>,
				 <&topckgen CLK_TOP_AUD_1_SEL>,
				 <&topckgen CLK_TOP_APLL1>,
				 <&topckgen CLK_TOP_AUD_2_SEL>,
				 <&topckgen CLK_TOP_APLL2>,
				 <&topckgen CLK_TOP_AUD_ENGEN1_SEL>,
				 <&topckgen CLK_TOP_APLL1_D4>,
				 <&topckgen CLK_TOP_AUD_ENGEN2_SEL>,
				 <&topckgen CLK_TOP_APLL2_D4>,
				 <&topckgen CLK_TOP_APLL_I2S0_MCK_SEL>,
				 <&topckgen CLK_TOP_APLL_I2S1_MCK_SEL>,
				 <&topckgen CLK_TOP_APLL_I2S2_MCK_SEL>,
				 <&topckgen CLK_TOP_APLL_I2S3_MCK_SEL>,
				 <&topckgen CLK_TOP_APLL_I2S4_MCK_SEL>,
				 <&topckgen CLK_TOP_APLL_I2S5_MCK_SEL>,
				 <&topckgen CLK_TOP_APLL_I2S6_MCK_SEL>,
				 <&topckgen CLK_TOP_APLL_I2S7_MCK_SEL>,
				 <&topckgen CLK_TOP_APLL_I2S8_MCK_SEL>,
				 <&topckgen CLK_TOP_APLL_I2S9_MCK_SEL>,
				 <&topckgen CLK_TOP_APLL12_CK_DIV0>,
				 <&topckgen CLK_TOP_APLL12_CK_DIV1>,
				 <&topckgen CLK_TOP_APLL12_CK_DIV2>,
				 <&topckgen CLK_TOP_APLL12_CK_DIV3>,
				 <&topckgen CLK_TOP_APLL12_CK_DIV4>,
				 <&topckgen CLK_TOP_APLL12_CK_DIVB>,
				 <&topckgen CLK_TOP_APLL12_CK_DIV5>,
				 <&topckgen CLK_TOP_APLL12_CK_DIV6>,
				 <&topckgen CLK_TOP_APLL12_CK_DIV7>,
				 <&topckgen CLK_TOP_AUDIO_H_SEL>,
				 <&topckgen CLK_TOP_TCK_26M_MX9>;
			clock-names = "aud_afe_clk", "aud_dac_clk",
				      "aud_dac_predis_clk", "aud_adc_clk",
				      "aud_adda6_adc_clk", "aud_apll22m_clk",
				      "aud_apll24m_clk", "aud_apll1_tuner_clk",
				      "aud_apll2_tuner_clk", "aud_tdm_clk",
				      "aud_tml_clk", "aud_nle",
				      "aud_dac_hires_clk", "aud_adc_hires_clk",
				      "aud_adc_hires_tml", "aud_adda6_adc_hires_clk",
				      "aud_3rd_dac_clk", "aud_3rd_dac_predis_clk",
				      "aud_3rd_dac_tml", "aud_3rd_dac_hires_clk",
				      "aud_infra_clk", "aud_infra_26m_clk",
				      "top_mux_audio", "top_mux_audio_int",
				      "top_mainpll_d4_d4", "top_mux_aud_1",
				      "top_apll1_ck", "top_mux_aud_2",
				      "top_apll2_ck", "top_mux_aud_eng1",
				      "top_apll1_d4", "top_mux_aud_eng2",
				      "top_apll2_d4", "top_i2s0_m_sel",
				      "top_i2s1_m_sel", "top_i2s2_m_sel",
				      "top_i2s3_m_sel", "top_i2s4_m_sel",
				      "top_i2s5_m_sel", "top_i2s6_m_sel",
				      "top_i2s7_m_sel", "top_i2s8_m_sel",
				      "top_i2s9_m_sel", "top_apll12_div0",
				      "top_apll12_div1", "top_apll12_div2",
				      "top_apll12_div3", "top_apll12_div4",
				      "top_apll12_divb", "top_apll12_div5",
				      "top_apll12_div6", "top_apll12_div7",
				      "top_mux_audio_h", "top_clk26m_clk";
		};
	};

	/*
	 * SIA8109 analog class-D/K speaker amplifier. Its one-wire mode
	 * interface (N rising edges after >1 ms low, then held high; vendor
	 * mode 6) is the same as the AW8738 pulse protocol.
	 */
	sia8109_amp: audio-amplifier {
		compatible = "awinic,aw8738";
		mode-gpios = <&pio_ml 169 GPIO_ACTIVE_HIGH>;
		awinic,mode = <6>;
		pinctrl-names = "default";
		pinctrl-0 = <&spk_amp_pins>;
		sound-name-prefix = "Speaker Amp";
	};

	sound_ml: sound {
		/* drop the vendor card description merged into this node */
		/delete-property/ mediatek,audio-codec;
		/delete-property/ mtk_spk_i2s_out;
		/delete-property/ mtk_spk_i2s_in;
		/delete-property/ si,sia81xx-max-num;
		/delete-property/ si,sia81xx-aux-devs;
		/delete-property/ si,sia81xx-aux-devs-prefix;
		compatible = "mediatek,mt6833-mt6359-sound";
		status = "okay";
		mediatek,speaker-amplifier = <&sia8109_amp>;
		mediatek,accdet = <&mt6359_accdet>;
		mediatek,platform = <&afe_ml>;
		pinctrl-names = "aud_clk_mosi_off", "aud_clk_mosi_on", "aud_dat_mosi_off", "aud_dat_mosi_on", "aud_dat_miso_off", "aud_dat_miso_on", "aud_gpio_i2s3_off", "aud_gpio_i2s3_on", "aud_gpio_i2s0_off", "aud_gpio_i2s0_on";
		pinctrl-0 = <&aud_clk_mosi_off_ml>;
		pinctrl-1 = <&aud_clk_mosi_on_ml>;
		pinctrl-2 = <&aud_dat_mosi_off_ml>;
		pinctrl-3 = <&aud_dat_mosi_on_ml>;
		pinctrl-4 = <&aud_dat_miso_off_ml>;
		pinctrl-5 = <&aud_dat_miso_on_ml>;
		pinctrl-6 = <&aud_gpio_i2s3_off_ml>;
		pinctrl-7 = <&aud_gpio_i2s3_on_ml>;
		pinctrl-8 = <&aud_gpio_i2s0_off_ml>;
		pinctrl-9 = <&aud_gpio_i2s0_on_ml>;
	};
};

/ {
	vibrator {
		compatible = "regulator-haptic";
		haptic-supply = <&mt6359_vibr_ldo_reg>;
		min-microvolt = <3300000>;
		max-microvolt = <3300000>;
	};
};

/*
 * Connectivity (CONSYS + MT6631 A-die), driven by the vendor wmt_drv/btif/
 * wlan modules built out of tree (~/nura-a22x/conn).
 */
&{/btif@1100c000} {
	clocks = <&infracfg_ao CLK_IFRAO_BTIF>, <&infracfg_ao CLK_IFRAO_AP_DMA>;
	clock-names = "btifc", "apdmac";
	status = "okay";
};

&consys {
	clocks = <&infracfg_ao CLK_IFRAO_CCIF4_AP>;
	clock-names = "ccif";
	power-domains = <&spm MT6833_POWER_DOMAIN_CONN>;
	memory-region = <&{/reserved-memory/consys-reserve-memory}>;
	vcn18-supply = <&mt6359_vcn18_ldo_reg>;
	vcn13-supply = <&mt6359_vcn13_ldo_reg>;
	vcn33_1_bt-supply = <&mt6359_vcn33_1_ldo_reg>;
	vcn33_1_wifi-supply = <&mt6359_vcn33_1_ldo_reg>;
	vcn33_2_wifi-supply = <&mt6359_vcn33_2_ldo_reg>;
	status = "okay";
};

&{/wifi@18000000} {
	memory-region = <&{/reserved-memory/wifi-reserve-memory}>;
	status = "okay";
};

/*
 * CPU idle. The stock idle states are "mediatek,idle-state", which the PSCI
 * cpuidle driver ignores, so the CPUs only ever did WFI. Enable the CPU-off
 * and cluster-off states (handled by ATF alone, as on MT8192); mcusys-off
 * and the s2idle state need the SPM/MCUPM side and stay unused for now.
 */
&cpuoff_l {
	compatible = "arm,idle-state";
};

&cpuoff_b {
	compatible = "arm,idle-state";
};

&clusteroff_l {
	compatible = "arm,idle-state";
};

&clusteroff_b {
	compatible = "arm,idle-state";
};

&{/cpus/cpu@000} { cpu-idle-states = <&cpuoff_l &clusteroff_l>; };
&{/cpus/cpu@001} { cpu-idle-states = <&cpuoff_l &clusteroff_l>; };
&{/cpus/cpu@002} { cpu-idle-states = <&cpuoff_l &clusteroff_l>; };
&{/cpus/cpu@003} { cpu-idle-states = <&cpuoff_l &clusteroff_l>; };
&{/cpus/cpu@004} { cpu-idle-states = <&cpuoff_l &clusteroff_l>; };
&{/cpus/cpu@005} { cpu-idle-states = <&cpuoff_l &clusteroff_l>; };
&{/cpus/cpu@100} { cpu-idle-states = <&cpuoff_b &clusteroff_b>; };
&{/cpus/cpu@101} { cpu-idle-states = <&cpuoff_b &clusteroff_b>; };

/ {
	/*
	 * SoC system timer: keeps running while a CPU's arch timer is off in
	 * an idle state (broadcast wakeups; else only bc_hrtimer is there).
	 */
	timer@10017000 {
		compatible = "mediatek,mt6833-timer", "mediatek,mt6765-timer";
		reg = <0 0x10017000 0 0x1000>;
		interrupts = <0 233 4>;
		clocks = <&clk13m>;
	};
};
